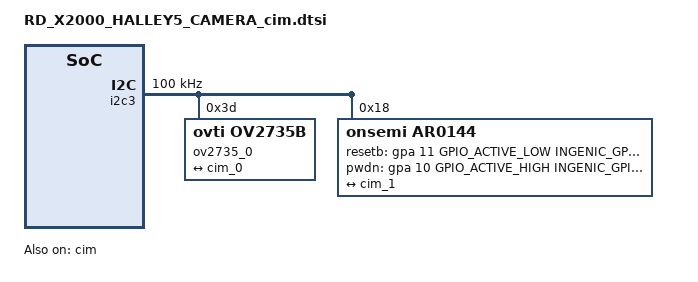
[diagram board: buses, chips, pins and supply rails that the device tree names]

&i2c3 {
	status = "okay";
	clock-frequency = <100000>;
	timeout = <1000>;
	pinctrl-names = "default";
	pinctrl-0 = <&i2c3_pa>;

	/*HALLEY5_CAMERA_V4.2*/
	ov2735_0:ov2735b@0x3d {
		status = "ok";
		compatible = "ovti,ov2735b";
		reg = <0x3d>;
		/*
		pinctrl-names = "default","cim";
		pinctrl-0 = <&cim_vic_mclk_pe>, <&cim_pa>;

		resetb-gpios = <&gpa 10 GPIO_ACTIVE_LOW INGENIC_GPIO_NOBIAS>;
		*/

		port {
			ov2735b_ep0:endpoint {
				remote-endpoint = <&cim_0>;
			};
		};
	};

	/*HALLEY5_CAMRERA_V5.0*/
	AR0144:AR0144@0x18 {
		status = "ok";
		compatible = "onsemi,ar0144";
		reg = <0x18>;
		pinctrl-names = "default","cim";
		pinctrl-0 = <&cim_vic_mclk_pe>, <&cim_pa>;

		resetb-gpios = <&gpa 11 GPIO_ACTIVE_LOW INGENIC_GPIO_NOBIAS>;
		pwdn-gpios = <&gpa 10 GPIO_ACTIVE_HIGH INGENIC_GPIO_NOBIAS>;


		port {
			AR0144_0:endpoint {
				remote-endpoint = <&cim_1>;
			};
		};
	};

};


&cim {
	status = "okay";
	port {
		cim_0: endpoint0@0 {
			remote-endpoint = <&ov2735b_ep0>;
			bus-width = <8>;
			data-shift = <0>;
			bus-type = <5>;
			hsync-active = <1>;
			vsync-active = <0>;
			data-active = <1>;
			pclk-sample = <1>;
		};
		cim_1: endpoint1@1 {
			remote-endpoint = <&AR0144_0>;
			data-lanes = <0 1>;
			clk-lanes = <2>;
		};
	};
};

